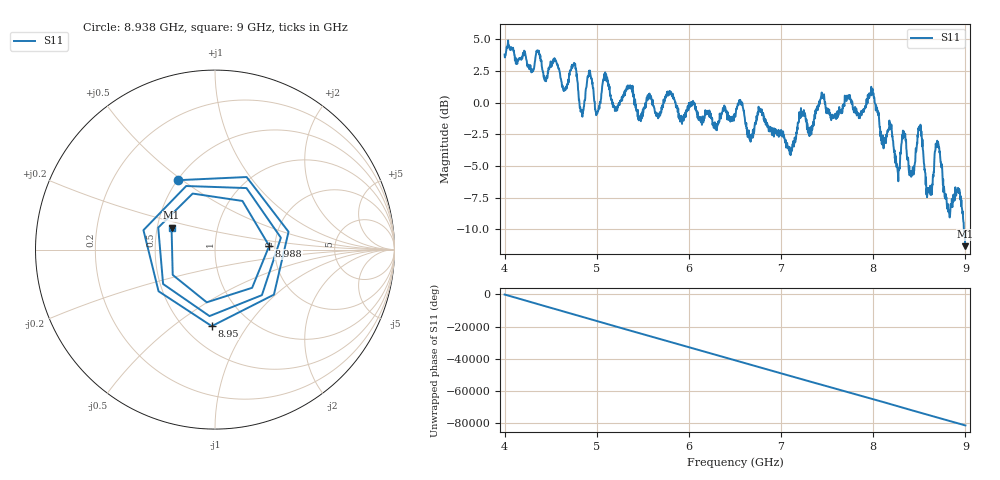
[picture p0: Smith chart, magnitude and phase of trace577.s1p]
! Created with skrf 1.8.0 (http://scikit-rf.org).
# Hz S RI R 50.0
!freq ReS11 ImS11
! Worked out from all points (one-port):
!   1601 points, 4 GHz to 9 GHz, reference 50 ohm
!   lowest |S11| = -11.3 dB at 9 GHz (marker M1), VSWR 1.74, Z = 29.7 + j7.86 ohm
!   |S11| at or under -10 dB: 8.983371 GHz to end of sweep
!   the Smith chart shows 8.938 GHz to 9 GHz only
!   S11 on the Smith chart (normalised r, x): 8.938 GHz: 0.50, +0.48; 8.95 GHz: 0.67, -0.70; 8.988 GHz: 1.86, +0.08; 9 GHz: 0.59, +0.16
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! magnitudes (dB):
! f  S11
! 4 GHz  3.8
! 4.55 GHz  3.3
! 4.625 GHz  1.2
! 4.75 GHz  3.0
! 4.838 GHz  -0.7
! 4.922 GHz  2.1
! 5.003 GHz  -0.9
! 5.091 GHz  2.4
! 5.25 GHz  0.0
! 5.875 GHz  -0.4
! 6.5 GHz  -1.0
! 7.125 GHz  -3.3
! 7.222 GHz  -1.0
! 7.316 GHz  -2.2
! 7.441 GHz  0.8
! 7.75 GHz  0.3
! 7.988 GHz  0.9
! 8.1 GHz  -2.8
! 8.375 GHz  -4.4
! 8.425 GHz  -5.7
! 8.506 GHz  -2.0
! 8.6 GHz  -6.8
! 8.697 GHz  -3.3
! 8.809 GHz  -8.0
! 8.938 GHz  -7.2
! 8.95 GHz  -7.4
! 8.988 GHz  -10.4
! 9 GHz  -11.3
